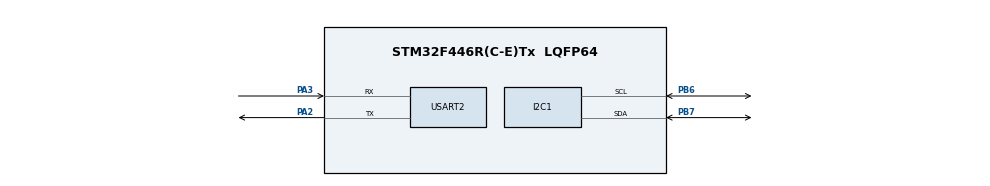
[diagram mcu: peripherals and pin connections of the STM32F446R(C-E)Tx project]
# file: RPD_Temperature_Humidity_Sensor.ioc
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Mcu.Family=STM32F4
Mcu.Name=STM32F446R(C-E)Tx
Mcu.Package=LQFP64
NVIC.PriorityGroup=NVIC_PRIORITYGROUP_4
PA13.Mode=Serial_Wire
PA13.Signal=SYS_JTMS-SWDIO
PA14.Mode=Serial_Wire
PA14.Signal=SYS_JTCK-SWCLK
PA2.Mode=Asynchronous
PA2.Signal=USART2_TX
PA3.Mode=Asynchronous
PA3.Signal=USART2_RX
PB6.Mode=I2C
PB6.Signal=I2C1_SCL
PB7.Mode=I2C
PB7.Signal=I2C1_SDA
ProjectManager.HeapSize=0x200
ProjectManager.StackSize=0x400
ProjectManager.TargetToolchain=STM32CubeIDE
RCC.CortexFreq_Value=16000000
RCC.USBFreq_Value=96000000
RCC.VCOOutputFreq_Value=192000000
USART2.VirtualMode=VM_ASYNC
board=custom

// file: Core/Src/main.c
/* USER CODE BEGIN Header */
/**
  ******************************************************************************
  * @file           : main.c
  * @brief          : Main program body
  ******************************************************************************
  * @attention
  *
  * Copyright (c) 2026 STMicroelectronics.
  * All rights reserved.
  *
  * This software is licensed under terms that can be found in the LICENSE file
  * in the root directory of this software component.
  * If no LICENSE file comes with this software, it is provided AS-IS.
  *
  ******************************************************************************
  */
/* USER CODE END Header */
#include "main.h"

/* USER CODE BEGIN Includes */

#include <stdio.h>
#include <string.h>

/* USER CODE END Includes */

/* USER CODE BEGIN PD */

#define RPD_I2C_ADDR  (0x44 << 1)

/* USER CODE END PD */

I2C_HandleTypeDef hi2c1;

UART_HandleTypeDef huart2;

void SystemClock_Config(void);
static void MX_GPIO_Init(void);
static void MX_I2C1_Init(void);
static void MX_USART2_UART_Init(void);

/* USER CODE BEGIN 0 */

uint8_t RPD_Read_SHT40(float *temperature, float *humidity)
{
    uint8_t cmd = 0xFD;
    uint8_t buf[6];

    if (HAL_I2C_Master_Transmit(&hi2c1, RPD_I2C_ADDR, &cmd, 1, 100) != HAL_OK)
        return 0;

    HAL_Delay(10);

    if (HAL_I2C_Master_Receive(&hi2c1, RPD_I2C_ADDR, buf, 6, 100) != HAL_OK)
        return 0;

    uint16_t rawT  = ((uint16_t)buf[0] << 8) | buf[1];
    uint16_t rawRH = ((uint16_t)buf[3] << 8) | buf[4];

    *temperature = -45.0f + 175.0f * rawT / 65535.0f;
    *humidity = -6.0f + 125.0f * rawRH / 65535.0f;

    if (*humidity < 0.0f) *humidity = 0.0f;
    if (*humidity > 100.0f) *humidity = 100.0f;

    return 1;
}

/* USER CODE END 0 */

int main(void)
{

  /* USER CODE BEGIN 1 */

	float rpd_temp = 0.0f;
	float rpd_humi = 0.0f;
	uint8_t rpd_ok = 0;
	char uart_msg[80];

  /* USER CODE END 1 */

  /* MCU Configuration--------------------------------------------------------*/

  /* Reset of all peripherals, Initializes the Flash interface and the Systick. */
  HAL_Init();

  /* Configure the system clock */
  SystemClock_Config();

  /* Initialize all configured peripherals */
  MX_GPIO_Init();
  MX_I2C1_Init();
  MX_USART2_UART_Init();

  /* Infinite loop */
  while (1)
  {

    /* USER CODE BEGIN 3 */

	  rpd_ok = RPD_Read_SHT40(&rpd_temp, &rpd_humi);

	  if (rpd_ok)
	  {
	      int temp100 = (int)(rpd_temp * 100.0f);
	      int humi100 = (int)(rpd_humi * 100.0f);

	      int len = snprintf(uart_msg, sizeof(uart_msg),
	                         "Temp: %d.%02d C, Humi: %d.%02d %%RH\r\n",
	                         temp100 / 100, temp100 % 100,
	                         humi100 / 100, humi100 % 100);

	      HAL_UART_Transmit(&huart2, (uint8_t *)uart_msg, len, 100);
	  }
	  else
	  {
	      char fail_msg[] = "RPD read failed\r\n";
	      HAL_UART_Transmit(&huart2, (uint8_t *)fail_msg, strlen(fail_msg), 100);
	  }

	  HAL_Delay(1000);

  }
  /* USER CODE END 3 */
}

void SystemClock_Config(void)
{
  RCC_OscInitTypeDef RCC_OscInitStruct = {0};
  RCC_ClkInitTypeDef RCC_ClkInitStruct = {0};

  /** Configure the main internal regulator output voltage
  */
  __HAL_RCC_PWR_CLK_ENABLE();
  __HAL_PWR_VOLTAGESCALING_CONFIG(PWR_REGULATOR_VOLTAGE_SCALE3);

  /** Initializes the RCC Oscillators according to the specified parameters
  * in the RCC_OscInitTypeDef structure.
  */
  RCC_OscInitStruct.OscillatorType = RCC_OSCILLATORTYPE_HSI;
  RCC_OscInitStruct.HSIState = RCC_HSI_ON;
  RCC_OscInitStruct.HSICalibrationValue = RCC_HSICALIBRATION_DEFAULT;
  RCC_OscInitStruct.PLL.PLLState = RCC_PLL_NONE;
  if (HAL_RCC_OscConfig(&RCC_OscInitStruct) != HAL_OK)
  {
    Error_Handler();
  }

  /** Initializes the CPU, AHB and APB buses clocks
  */
  RCC_ClkInitStruct.ClockType = RCC_CLOCKTYPE_HCLK|RCC_CLOCKTYPE_SYSCLK
                              |RCC_CLOCKTYPE_PCLK1|RCC_CLOCKTYPE_PCLK2;
  RCC_ClkInitStruct.SYSCLKSource = RCC_SYSCLKSOURCE_HSI;
  RCC_ClkInitStruct.AHBCLKDivider = RCC_SYSCLK_DIV1;
  RCC_ClkInitStruct.APB1CLKDivider = RCC_HCLK_DIV1;
  RCC_ClkInitStruct.APB2CLKDivider = RCC_HCLK_DIV1;

  if (HAL_RCC_ClockConfig(&RCC_ClkInitStruct, FLASH_LATENCY_0) != HAL_OK)
  {
    Error_Handler();
  }
}

static void MX_I2C1_Init(void)
{

  hi2c1.Instance = I2C1;
  hi2c1.Init.ClockSpeed = 100000;
  hi2c1.Init.DutyCycle = I2C_DUTYCYCLE_2;
  hi2c1.Init.OwnAddress1 = 0;
  hi2c1.Init.AddressingMode = I2C_ADDRESSINGMODE_7BIT;
  hi2c1.Init.DualAddressMode = I2C_DUALADDRESS_DISABLE;
  hi2c1.Init.OwnAddress2 = 0;
  hi2c1.Init.GeneralCallMode = I2C_GENERALCALL_DISABLE;
  hi2c1.Init.NoStretchMode = I2C_NOSTRETCH_DISABLE;
  if (HAL_I2C_Init(&hi2c1) != HAL_OK)
  {
    Error_Handler();
  }

}

static void MX_USART2_UART_Init(void)
{

  huart2.Instance = USART2;
  huart2.Init.BaudRate = 115200;
  huart2.Init.WordLength = UART_WORDLENGTH_8B;
  huart2.Init.StopBits = UART_STOPBITS_1;
  huart2.Init.Parity = UART_PARITY_NONE;
  huart2.Init.Mode = UART_MODE_TX_RX;
  huart2.Init.HwFlowCtl = UART_HWCONTROL_NONE;
  huart2.Init.OverSampling = UART_OVERSAMPLING_16;
  if (HAL_UART_Init(&huart2) != HAL_OK)
  {
    Error_Handler();
  }

}

static void MX_GPIO_Init(void)
{

  /* GPIO Ports Clock Enable */
  __HAL_RCC_GPIOA_CLK_ENABLE();
  __HAL_RCC_GPIOB_CLK_ENABLE();

}

void Error_Handler(void)
{
  __disable_irq();
  while (1)
  {
  }
}
